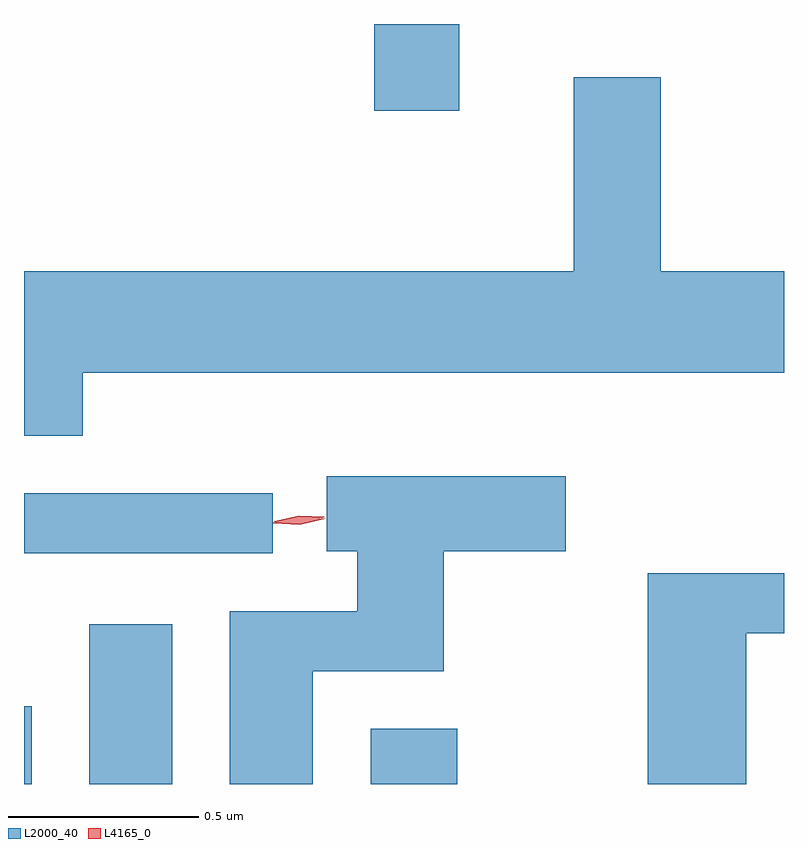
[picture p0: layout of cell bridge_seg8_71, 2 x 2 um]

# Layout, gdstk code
import gdstk
lib = gdstk.Library(unit=1e-6, precision=1e-09)
def R(c, l, rs):  # rectangles x0, y0, x1, y1
    for r in rs: c.add(gdstk.rectangle(r[:2], r[2:], *l))
def P(c, l, *ps):  # polygons
    for p in ps: c.add(gdstk.Polygon(p, *l))
L2000_40 = (2000, 40)
L4165_0 = (4165, 0)

bridge_seg8_71 = lib.new_cell('bridge_seg8_71')
R(bridge_seg8_71, L2000_40, [(1575.594,1824.234,1575.614,1824.439), (1575.766,1824.234,1575.984,1824.654), (1576.506,1824.234,1576.734,1824.379), (1575.594,1824.841,1576.248,1824.999), (1576.516,1826.006,1576.739,1826.234)])
P(bridge_seg8_71, L2000_40, [(1575.749,1825.316),(1577.594,1825.316),(1577.594,1825.584),(1577.269,1825.584),(1577.269,1826.094),(1577.041,1826.094),(1577.041,1825.584),(1575.594,1825.584),(1575.594,1825.151),(1575.749,1825.151)],
  [(1576.354,1824.531),(1576.699,1824.531),(1576.699,1824.846),(1577.019,1824.846),(1577.019,1825.044),(1576.391,1825.044),(1576.391,1824.846),(1576.471,1824.846),(1576.471,1824.689),(1576.136,1824.689),(1576.136,1824.234),(1576.354,1824.234)],
  [(1577.494,1824.631),(1577.594,1824.631),(1577.594,1824.789),(1577.236,1824.789),(1577.236,1824.234),(1577.494,1824.234)])
P(bridge_seg8_71, L4165_0, [(1576.32,1824.921),(1576.253,1824.924),(1576.253,1824.924),(1576.253,1824.925),(1576.318,1824.94),(1576.384,1824.937),(1576.384,1824.937),(1576.384,1824.936)],
  [(1576.319,1824.916),(1576.25,1824.92),(1576.25,1824.92),(1576.25,1824.921),(1576.318,1824.936),(1576.387,1824.932),(1576.387,1824.932),(1576.387,1824.932)])

lib.write_gds('bridge_seg8_71.gds')
